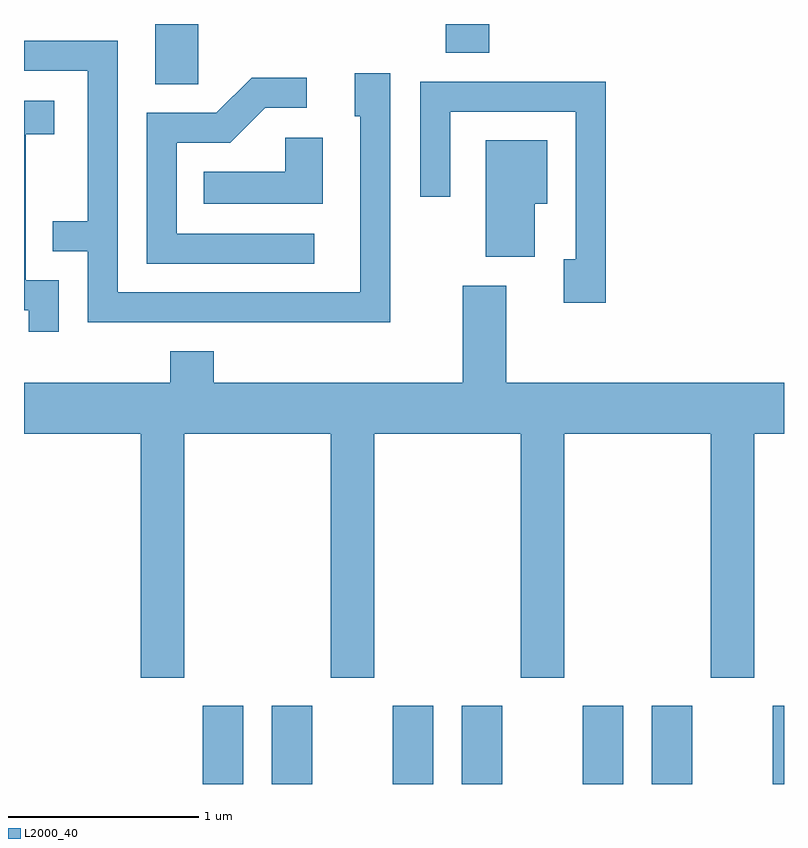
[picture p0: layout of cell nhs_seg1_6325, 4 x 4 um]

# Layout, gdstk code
import gdstk
lib = gdstk.Library(unit=1e-6, precision=1e-09)
def R(c, l, rs):  # rectangles x0, y0, x1, y1
    for r in rs: c.add(gdstk.rectangle(r[:2], r[2:], *l))
def P(c, l, *ps):  # polygons
    for p in ps: c.add(gdstk.Polygon(p, *l))
L2000_40 = (2000, 40)

nhs_seg1_6325 = lib.new_cell('nhs_seg1_6325')
R(nhs_seg1_6325, L2000_40, [(376.551,917.712,376.764,918.124), (376.916,917.712,377.129,918.124), (377.551,917.712,377.764,918.124), (377.916,917.712,378.129,918.124), (378.551,917.712,378.764,918.124), (378.916,917.712,379.129,918.124), (379.551,917.712,379.611,918.124), (376.301,921.396,376.529,921.712), (377.831,921.561,378.059,921.712)])
P(nhs_seg1_6325, L2000_40, [(377.539,921.454),(377.351,921.454),(377.351,921.226),(377.381,921.226),(377.381,920.299),(376.104,920.299),(376.104,921.624),(375.611,921.624),(375.611,921.466),(375.946,921.466),(375.946,920.674),(375.763,920.674),(375.763,920.516),(375.946,920.516),(375.946,920.141),(377.539,920.141)],
  [(377.138,920.609),(376.414,920.609),(376.414,921.086),(376.697,921.086),(376.882,921.271),(377.098,921.271),(377.098,921.429),(376.809,921.429),(376.624,921.244),(376.256,921.244),(376.256,920.451),(377.138,920.451)],
  [(378.674,921.409),(377.696,921.409),(377.696,920.803),(377.854,920.803),(377.854,921.251),(378.516,921.251),(378.516,920.474),(378.451,920.474),(378.451,920.246),(378.674,920.246)],
  [(375.794,920.364),(375.619,920.364),(375.619,921.131),(375.769,921.131),(375.769,921.309),(375.611,921.309),(375.611,920.206),(375.636,920.206),(375.636,920.093),(375.794,920.093)],
  [(377.184,921.114),(376.986,921.114),(376.986,920.934),(376.558,920.934),(376.558,920.766),(377.184,920.766)],
  [(378.299,920.766),(378.364,920.766),(378.364,921.099),(378.041,921.099),(378.041,920.486),(378.299,920.486)],
  [(376.454,919.556),(377.226,919.556),(377.226,918.271),(377.454,918.271),(377.454,919.556),(378.226,919.556),(378.226,918.271),(378.454,918.271),(378.454,919.556),(379.226,919.556),(379.226,918.271),(379.454,918.271),(379.454,919.556),(379.611,919.556),(379.611,919.824),(378.149,919.824),(378.149,920.334),(377.921,920.334),(377.921,919.824),(376.609,919.824),(376.609,919.989),(376.381,919.989),(376.381,919.824),(375.611,919.824),(375.611,919.556),(376.226,919.556),(376.226,918.271),(376.454,918.271)])

lib.write_gds('nhs_seg1_6325.gds')
